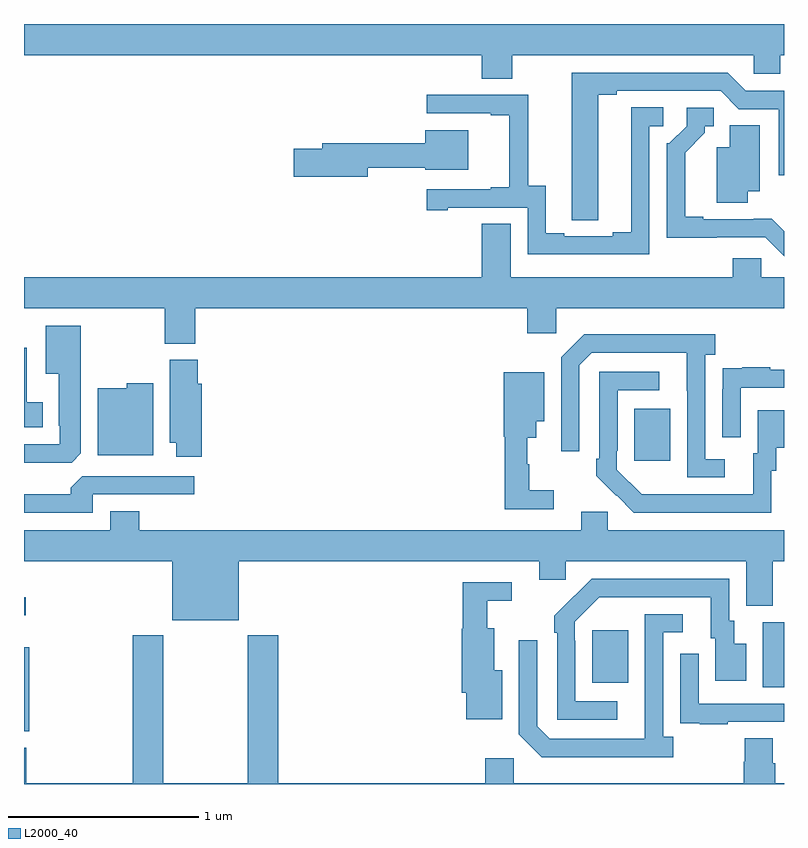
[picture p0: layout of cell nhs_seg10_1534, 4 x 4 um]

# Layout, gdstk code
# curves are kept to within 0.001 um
import gdstk
lib = gdstk.Library(unit=1e-6, precision=1e-09)
def R(c, l, rs):  # rectangles x0, y0, x1, y1
    for r in rs: c.add(gdstk.rectangle(r[:2], r[2:], *l))
def P(c, l, *ps):  # polygons
    for p in ps: c.add(gdstk.Polygon(p, *l))
L2000_40 = (2000, 40)

nhs_seg10_1534 = lib.new_cell('nhs_seg10_1534')
R(nhs_seg10_1534, L2000_40, [(191,1276.777,191.027,1277.221), (194.888,1277.008,195,1277.352), (193.991,1277.033,194.179,1277.308), (191,1277.388,191.008,1277.484), (194.213,1278.201,194.401,1278.475)])
P(nhs_seg10_1534, L2000_40, [(193.569,1280.336),(194.841,1280.336),(194.841,1280.238),(194.979,1280.238),(194.979,1280.336),(195,1280.336),(195,1280.5),(191,1280.5),(191,1280.336),(193.409,1280.336),(193.409,1280.212),(193.569,1280.212)],
  [(194.023,1280.128),(194.119,1280.128),(194.119,1280.148),(194.667,1280.148),(194.763,1280.052),(194.973,1280.052),(194.973,1279.704),(195,1279.704),(195,1280.148),(194.799,1280.148),(194.703,1280.244),(193.883,1280.244),(193.884,1279.468),(194.023,1279.468)],
  [(194.292,1279.962),(194.365,1279.962),(194.365,1280.063),(194.195,1280.063),(194.195,1279.403),(194.099,1279.403),(194.099,1279.383),(193.843,1279.383),(193.843,1279.398),(193.747,1279.398),(193.747,1279.649),(193.653,1279.649),(193.653,1280.127),(193.119,1280.127),(193.119,1280.031),(193.457,1280.031),(193.457,1280.019),(193.553,1280.019),(193.553,1279.642),(193.457,1279.642),(193.457,1279.629),(193.119,1279.629),(193.119,1279.521),(193.231,1279.521),(193.231,1279.533),(193.65,1279.533),(193.65,1279.287),(194.292,1279.287)],
  [(195,1279.41),(194.936,1279.474),(194.575,1279.473),(194.575,1279.486),(194.479,1279.486),(194.479,1279.822),(194.584,1279.927),(194.584,1279.962),(194.629,1279.962),(194.629,1280.058),(194.487,1280.058),(194.487,1279.962),(194.397,1279.872),(194.382,1279.872),(194.382,1279.376),(194.901,1279.377),(195,1279.278)],
  [(194.809,1279.619),(194.872,1279.619),(194.872,1279.967),(194.714,1279.967),(194.714,1279.852),(194.645,1279.852),(194.645,1279.558),(194.809,1279.558)],
  [(192.808,1279.744),(193.112,1279.744),(193.112,1279.733),(193.339,1279.733),(193.339,1279.942),(193.112,1279.942),(193.112,1279.873),(192.569,1279.873),(192.569,1279.844),(192.42,1279.844),(192.42,1279.697),(192.808,1279.697)],
  [(191.9,1279.004),(193.649,1279.004),(193.649,1278.873),(193.8,1278.873),(193.8,1279.004),(195,1279.004),(195,1279.168),(194.88,1279.168),(194.88,1279.266),(194.729,1279.266),(194.729,1279.168),(193.561,1279.168),(193.561,1279.448),(193.409,1279.448),(193.409,1279.168),(191,1279.168),(191,1279.004),(191.74,1279.004),(191.74,1278.817),(191.9,1278.817)],
  [(191.299,1278.241),(191.299,1278.913),(191.114,1278.913),(191.114,1278.659),(191.183,1278.659),(191.183,1278.385),(191.187,1278.385),(191.187,1278.288),(191,1278.288),(191,1278.192),(191.25,1278.192)],
  [(194.689,1278.21),(194.586,1278.21),(194.586,1278.758),(194.638,1278.758),(194.638,1278.868),(193.948,1278.868),(193.827,1278.747),(193.827,1278.252),(193.923,1278.252),(193.923,1278.705),(193.989,1278.771),(194.489,1278.771),(194.49,1278.114),(194.689,1278.114)],
  [(191.098,1278.508),(191.014,1278.508),(191.014,1278.796),(191,1278.796),(191,1278.377),(191.098,1278.377)],
  [(191.936,1278.606),(191.915,1278.606),(191.915,1278.732),(191.768,1278.732),(191.768,1278.296),(191.801,1278.296),(191.801,1278.222),(191.936,1278.222)],
  [(194.772,1278.585),(195,1278.585),(195,1278.681),(194.927,1278.681),(194.927,1278.694),(194.779,1278.694),(194.779,1278.687),(194.677,1278.687),(194.677,1278.578),(194.676,1278.578),(194.676,1278.324),(194.772,1278.324)],
  [(194.934,1278.15),(194.959,1278.15),(194.959,1278.269),(195,1278.269),(195,1278.466),(194.861,1278.466),(194.861,1278.24),(194.837,1278.24),(194.837,1278.024),(194.25,1278.025),(194.121,1278.153),(194.121,1278.253),(194.124,1278.253),(194.124,1278.573),(194.344,1278.573),(194.344,1278.669),(194.028,1278.669),(194.028,1278.211),(194.013,1278.211),(194.013,1278.123),(194.21,1277.928),(194.934,1277.928)],
  [(193.789,1278.047),(193.66,1278.047),(193.66,1278.183),(193.649,1278.183),(193.649,1278.323),(193.696,1278.323),(193.696,1278.41),(193.738,1278.41),(193.738,1278.667),(193.526,1278.667),(193.526,1278.327),(193.531,1278.327),(193.531,1277.946),(193.789,1277.946)],
  [(191.68,1278.61),(191.541,1278.61),(191.541,1278.583),(191.387,1278.583),(191.387,1278.23),(191.68,1278.23)],
  [(191.361,1278.024),(191.896,1278.024),(191.896,1278.12),(191.307,1278.12),(191.246,1278.058),(191.246,1278.024),(191,1278.024),(191,1277.928),(191.361,1277.928)],
  [(192.13,1277.672),(193.712,1277.672),(193.712,1277.574),(193.851,1277.574),(193.851,1277.672),(194.801,1277.672),(194.801,1277.437),(194.941,1277.437),(194.941,1277.672),(195,1277.672),(195,1277.836),(194.073,1277.836),(194.073,1277.934),(193.934,1277.934),(193.934,1277.836),(191.606,1277.836),(191.606,1277.935),(191.453,1277.935),(191.453,1277.836),(191,1277.836),(191,1277.672),(191.78,1277.672),(191.78,1277.363),(192.13,1277.363)],
  [(194.122,1276.935),(193.902,1276.935),(193.902,1277.255),(193.899,1277.255),(193.899,1277.355),(194.028,1277.484),(194.615,1277.484),(194.615,1277.268),(194.639,1277.268),(194.639,1277.043),(194.8,1277.043),(194.8,1277.239),(194.737,1277.239),(194.737,1277.358),(194.712,1277.358),(194.712,1277.58),(193.988,1277.58),(193.791,1277.385),(193.791,1277.297),(193.806,1277.297),(193.806,1276.839),(194.122,1276.839)],
  [(193.516,1277.098),(193.474,1277.098),(193.474,1277.32),(193.438,1277.32),(193.438,1277.465),(193.567,1277.465),(193.567,1277.562),(193.309,1277.562),(193.309,1277.316),(193.304,1277.316),(193.304,1276.98),(193.328,1276.98),(193.328,1276.841),(193.516,1276.841)],
  [(194.416,1276.75),(194.364,1276.75),(194.364,1277.298),(194.467,1277.298),(194.467,1277.394),(194.268,1277.394),(194.267,1276.737),(193.767,1276.737),(193.701,1276.803),(193.701,1277.257),(193.605,1277.257),(193.605,1276.761),(193.726,1276.64),(194.416,1276.64)],
  [(195,1276.504),(194.954,1276.504),(194.954,1276.61),(194.941,1276.61),(194.941,1276.742),(194.794,1276.742),(194.794,1276.617),(194.789,1276.617),(194.789,1276.504),(193.578,1276.504),(193.578,1276.636),(193.427,1276.636),(193.427,1276.504),(192.338,1276.504),(192.338,1277.284),(192.178,1277.284),(192.178,1276.504),(191.733,1276.504),(191.733,1277.284),(191.573,1277.284),(191.573,1276.504),(191.012,1276.504),(191.012,1276.692),(191,1276.692),(191,1276.5),(195,1276.5)],
  [(194.705,1276.827),(195,1276.827),(195,1276.923),(194.55,1276.923),(194.55,1277.185),(194.454,1277.185),(194.454,1276.93),(194.455,1276.93),(194.455,1276.821),(194.557,1276.821),(194.557,1276.815),(194.705,1276.815)])

lib.write_gds('nhs_seg10_1534.gds')
